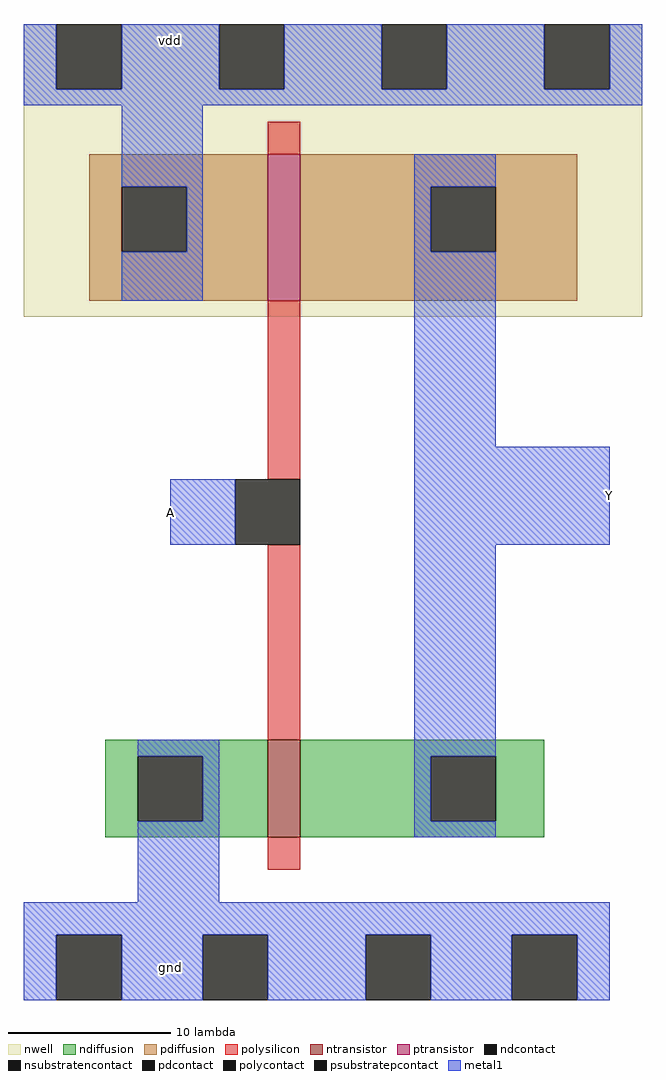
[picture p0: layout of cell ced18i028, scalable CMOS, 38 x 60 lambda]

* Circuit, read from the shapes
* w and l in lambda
.subckt ced18i028 A Y gnd vdd
M1 Y A gnd gnd nfet w=6 l=2
M2 Y A vdd vdd pfet w=9 l=2
.ends

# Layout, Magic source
magic
tech scmos
<< nwell >>
rect -24 17 14 35
<< polysilicon >>
rect -9 27 -7 29
rect -9 7 -7 18
rect -9 -9 -7 3
rect -9 -17 -7 -15
<< ndiffusion >>
rect -19 -10 -9 -9
rect -19 -14 -17 -10
rect -13 -14 -9 -10
rect -19 -15 -9 -14
rect -7 -10 8 -9
rect -7 -14 1 -10
rect 5 -14 8 -10
rect -7 -15 8 -14
<< pdiffusion >>
rect -20 25 -9 27
rect -20 21 -18 25
rect -14 21 -9 25
rect -20 18 -9 21
rect -7 25 10 27
rect -7 21 1 25
rect 5 21 10 25
rect -7 18 10 21
<< metal1 >>
rect -24 31 -22 35
rect -18 31 -12 35
rect -8 31 -2 35
rect 2 31 8 35
rect 12 31 14 35
rect -24 30 14 31
rect -18 25 -13 30
rect -14 21 -13 25
rect -18 18 -13 21
rect 0 25 5 27
rect 0 21 1 25
rect 0 9 5 21
rect -15 3 -11 7
rect 0 3 12 9
rect -17 -10 -12 -9
rect -13 -14 -12 -10
rect -17 -19 -12 -14
rect 0 -10 5 3
rect 0 -14 1 -10
rect 0 -15 5 -14
rect -24 -21 12 -19
rect -24 -25 -22 -21
rect -18 -25 -13 -21
rect -9 -25 -3 -21
rect 1 -25 6 -21
rect 10 -25 12 -21
<< ntransistor >>
rect -9 -15 -7 -9
<< ptransistor >>
rect -9 18 -7 27
<< polycontact >>
rect -11 3 -7 7
<< ndcontact >>
rect -17 -14 -13 -10
rect 1 -14 5 -10
<< pdcontact >>
rect -18 21 -14 25
rect 1 21 5 25
<< psubstratepcontact >>
rect -22 -25 -18 -21
rect -13 -25 -9 -21
rect -3 -25 1 -21
rect 6 -25 10 -21
<< nsubstratencontact >>
rect -22 31 -18 35
rect -12 31 -8 35
rect -2 31 2 35
rect 8 31 12 35
<< labels >>
rlabel metal1 -15 3 -15 7 1 A
rlabel metal1 12 3 12 9 7 Y
rlabel metal1 -15 34 -15 34 5 vdd
rlabel metal1 -15 -23 -15 -23 1 gnd
<< end >>
